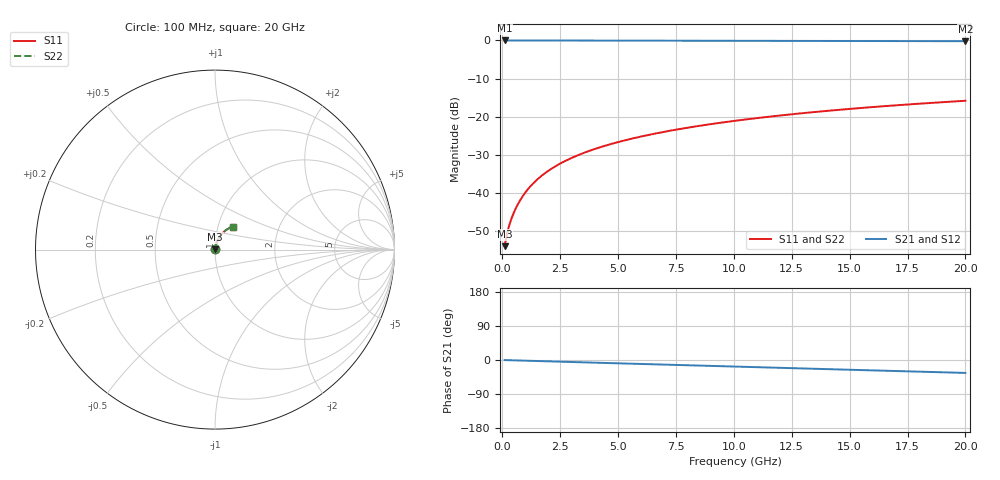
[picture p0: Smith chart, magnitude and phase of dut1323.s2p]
! Touchstone file exported from HFSS 2026.1.0
!  File:  C:/ffzhzh/LocalFiles/Ansys_Project_Files/temp_train_BSMRDL_1323_1783178546_18472.aedt
!  Generated:  11:23:42 PM Jul  4, 2026
!  Design:  BSMRDL
!  Project:  temp_train_BSMRDL_1323_1783178546_18472
! Variables:
!  h_bsmrdl = 5.18um
!  h_ox = 20um
!  h_rdl = 5um
!  h_sub = 80um
!  h_tmrdl = 5um
!  h_tsv = 80um
!  h_via = 3um
!  l_bsmrdl = 566.91um
!  l_sub = 966.91um
!  l_tmrdl = 200um
!  m_sub = 200um
!  pitch = 42.48um
!  r_tsv = 6um
!  s_tmrdl = 10um
!  w_bsmrdl = 29.45um
!  w_sub = 500um
!  w_tmrdl = 12um
!  x_tsv_center1 = 206um
!  x_tsv_center2 = 802.36um
!  x_tsv_center3 = 1014.36um
!  x_tsv_center4 = 1610.72um
!  x_tsv_center5 = 1822.72um
!  x_tsv_center6 = 2419.08um
# GHz S MA R 50.000000
! Terminal data exported
! Port[1] = BSM_RDL1_1_T1
! Port[2] = BSM_RDL1_1_T2
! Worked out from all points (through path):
!   200 points, 100 MHz to 20 GHz, reference 50 ohm
!   highest |S21| = -0.01 dB at 100 MHz (marker M1); lowest = -0.2 dB at 20 GHz (marker M2)
!   group delay of S21, straight-line fit = 4.72 ps
!   lowest |S11| = -53.9 dB at 100 MHz (marker M3), VSWR 1.00, Z = 50.2 + j0.126 ohm
!   |S11| at or under -10 dB: start of sweep to end of sweep
!   |S22| runs from -53.9 to -15.8 dB; largest |S21 - S12| = 2.6e-15
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0.1  0.002022 38.3  0.9984 -0.2  0.9984 -0.2  0.002022 38.3
! Gamma 0 0 0 0
! Port Impedance 50 0 50 0
0.2  0.002921 51.8  0.9982 -0.4  0.9982 -0.4  0.002921 51.8
0.3  0.003794 59.0  0.9981 -0.6  0.9981 -0.6  0.003794 59.0
0.4  0.004671 63.8  0.998 -0.7  0.998 -0.7  0.004671 63.8
0.5  0.005568 67.3  0.9979 -0.9  0.9979 -0.9  0.005568 67.3
0.6  0.006482 69.9  0.9979 -1.1  0.9979 -1.1  0.006482 69.9
0.8  0.00835 73.2  0.9978 -1.4  0.9978 -1.4  0.00835 73.2
1.1  0.0112 75.9  0.9976 -2.0  0.9976 -2.0  0.0112 75.9
1.3  0.01311 76.9  0.9975 -2.3  0.9975 -2.3  0.01311 76.9
1.6  0.01596 77.6  0.9972 -2.9  0.9972 -2.9  0.01596 77.6
2.1  0.02068 78.0  0.9968 -3.7  0.9968 -3.7  0.02068 78.0
2.7  0.02624 77.7  0.9962 -4.8  0.9962 -4.8  0.02624 77.7
3.5  0.03348 76.9  0.9954 -6.2  0.9954 -6.2  0.03348 76.9
4.2  0.03968 76.1  0.9947 -7.4  0.9947 -7.4  0.03968 76.1
5  0.04665 75.0  0.9939 -8.8  0.9939 -8.8  0.04664 75.0
5.9  0.05435 73.8  0.9929 -10.3  0.9929 -10.3  0.05435 73.8
6.8  0.06194 72.5  0.992 -11.9  0.992 -11.9  0.06194 72.5
8.3  0.07438 70.4  0.9905 -14.4  0.9905 -14.4  0.07438 70.4
10.1  0.08899 67.7  0.9886 -17.5  0.9886 -17.5  0.08898 67.7
13.4  0.1148 62.7  0.9848 -23.1  0.9848 -23.1  0.1148 62.7
16.7  0.1392 57.6  0.9808 -28.6  0.9808 -28.6  0.1392 57.6
20  0.1619 52.4  0.9765 -34.1  0.9765 -34.1  0.1619 52.4
